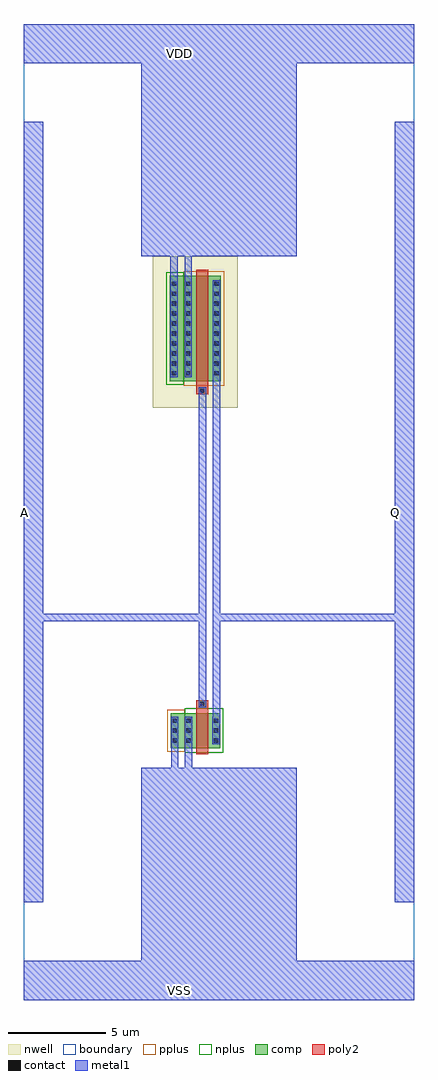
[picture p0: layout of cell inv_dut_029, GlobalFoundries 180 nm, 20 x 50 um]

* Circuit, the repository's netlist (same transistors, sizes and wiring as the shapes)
* inv_dut_029: pfet_03v3 W=5.40u L=0.60u / nfet_03v3 W=1.80u L=0.60u
.SUBCKT inv_dut_029 A Q VDD VSS
MMP Q A VDD VDD pfet_03v3 W=5.40u L=0.60u
MMN Q A VSS VSS nfet_03v3 W=1.80u L=0.60u
.ENDS

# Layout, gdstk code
import gdstk
lib = gdstk.Library(unit=1e-6, precision=1e-09)
def R(c, l, rs):  # rectangles x0, y0, x1, y1
    for r in rs: c.add(gdstk.rectangle(r[:2], r[2:], *l))
def A(c, l, x, y, w, h, nx, ny, dx, dy):  # array of equal rectangles
    R(c, l, [(x+i*dx, y+j*dy, x+i*dx+w, y+j*dy+h) for i in range(nx) for j in range(ny)])
boundary = (0, 0)
nwell = (21, 0)
comp = (22, 0)
poly2 = (30, 0)
pplus = (31, 0)
nplus = (32, 0)
contact = (33, 0)
metal1 = (34, 0)

inv_dut_029 = lib.new_cell('inv_dut_029')
R(inv_dut_029, boundary, [(-10,-25,10,25)])
R(inv_dut_029, nwell, [(-3.395,5.33,0.955,13.09)])
R(inv_dut_029, comp, [(-2.475,-12.1,0.055,-10.3), (-2.535,6.7,0.095,12.1)])
R(inv_dut_029, poly2, [(-1.155,-12.4,-0.555,-9.64), (-1.155,6.02,-0.555,12.4)])
R(inv_dut_029, pplus, [(-2.645,-12.27,-1.765,-10.13), (-1.805,6.46,0.265,12.34)])
R(inv_dut_029, nplus, [(-1.765,-12.34,0.225,-10.06), (-2.705,6.53,-1.805,12.27)])
A(inv_dut_029, contact, -2.375, -11.82, 0.22, 0.22, 1, 3, 0, 0.51)
A(inv_dut_029, contact, -1.665, -11.82, 0.22, 0.22, 1, 3, 0, 0.51)
A(inv_dut_029, contact, -0.265, -11.82, 0.22, 0.22, 1, 3, 0, 0.51)
A(inv_dut_029, contact, -2.415, 6.995, 0.22, 0.22, 1, 10, 0, 0.51)
A(inv_dut_029, contact, -1.685, 6.995, 0.22, 0.22, 1, 10, 0, 0.51)
A(inv_dut_029, contact, -0.245, 6.995, 0.22, 0.22, 1, 10, 0, 0.51)
R(inv_dut_029, contact, [(-0.965,-9.93,-0.745,-9.71), (-0.965,6.1,-0.745,6.32)])
R(inv_dut_029, metal1, [(-10,-25,10,-23), (-3.995,-23,3.995,-13.4), (-10,-20,-9,20), (9,-20,10,20), (-3.995,-13.7,3.995,-13.1), (-2.455,-13.7,-2.075,-10.5), (-1.745,-13.7,-1.365,-10.5), (-2.455,-11.9,-2.075,-10.5), (-1.745,-11.9,-1.365,-10.5), (-0.345,-11.9,0.035,-10.5), (-0.345,-10.88,0.055,-10.5), (-0.325,-10.88,0.055,7.295), (-1.045,-10.01,-0.665,6.4), (-1.045,-10.01,-0.665,-9.63), (-9,-5.6,-3.695,-5.2), (-3.995,-5.6,-0.665,-5.2), (-0.325,-5.6,3.995,-5.2), (3.695,-5.6,9,-5.2), (-1.045,6.02,-0.665,6.4), (-2.495,6.915,-2.115,13.7), (-2.495,6.915,-2.115,11.885), (-1.765,6.915,-1.385,13.7), (-1.765,6.915,-1.385,11.885), (-0.325,6.915,0.055,7.295), (-0.325,6.915,0.055,11.885), (-3.995,13.1,3.995,13.7), (-3.995,13.4,3.995,23), (-10,23,10,25)])
inv_dut_029.add(gdstk.Label('VDD', (-2,23.5), layer=34, texttype=10))
inv_dut_029.add(gdstk.Label('VSS', (-2,-24.5), layer=34, texttype=10))
inv_dut_029.add(gdstk.Label('A', (-9.97,0), layer=34, texttype=10))
inv_dut_029.add(gdstk.Label('Q', (9.03,0), layer=34, texttype=10))

lib.write_gds('inv_dut_029.gds')
